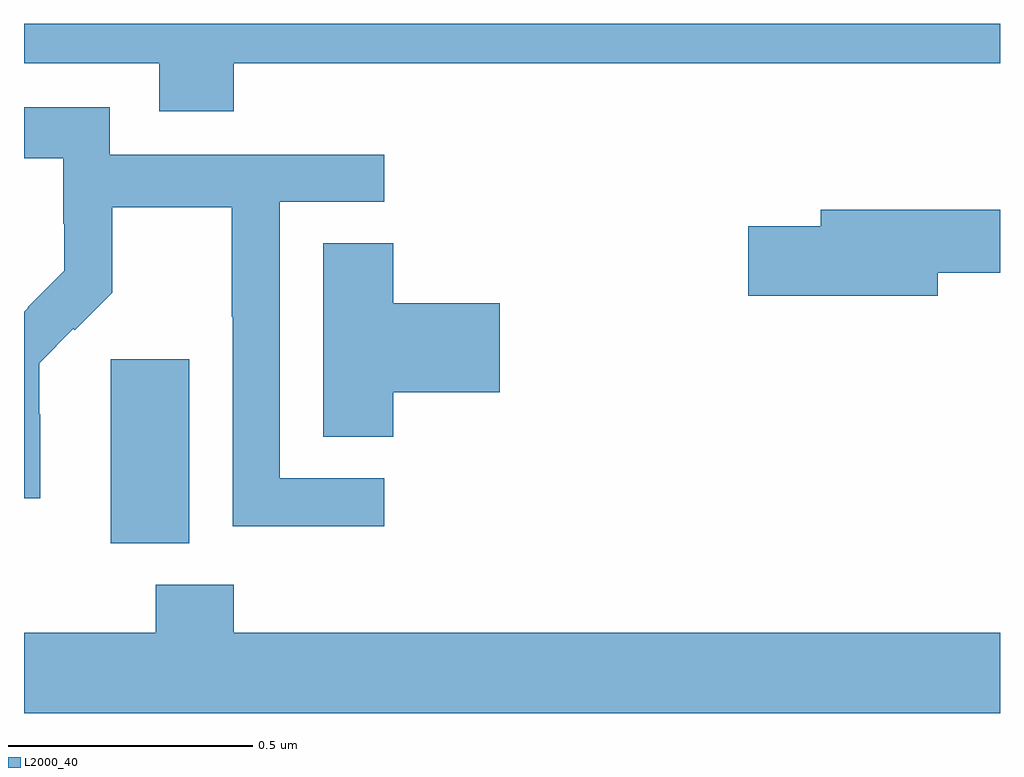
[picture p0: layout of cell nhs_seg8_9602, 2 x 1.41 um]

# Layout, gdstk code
import gdstk
lib = gdstk.Library(unit=1e-6, precision=1e-09)
def R(c, l, rs):  # rectangles x0, y0, x1, y1
    for r in rs: c.add(gdstk.rectangle(r[:2], r[2:], *l))
def P(c, l, *ps):  # polygons
    for p in ps: c.add(gdstk.Polygon(p, *l))
L2000_40 = (2000, 40)

nhs_seg8_9602 = lib.new_cell('nhs_seg8_9602')
R(nhs_seg8_9602, L2000_40, [(238.178,1128.836,238.339,1129.213)])
P(nhs_seg8_9602, L2000_40, [(238.43,1129.82),(240,1129.82),(240,1129.9),(238,1129.9),(238,1129.82),(238.277,1129.82),(238.277,1129.721),(238.43,1129.721)],
  [(238.738,1128.969),(238.524,1128.969),(238.524,1129.536),(238.738,1129.536),(238.738,1129.632),(238.176,1129.632),(238.176,1129.729),(238,1129.729),(238,1129.625),(238.08,1129.625),(238.08,1129.491),(238.082,1129.491),(238.082,1129.394),(238.008,1129.32),(238.009,1129.319),(238,1129.31),(238,1128.928),(238.033,1128.928),(238.033,1129.1),(238.031,1129.1),(238.031,1129.205),(238.101,1129.275),(238.104,1129.272),(238.181,1129.349),(238.181,1129.524),(238.426,1129.524),(238.426,1129.3),(238.428,1129.3),(238.428,1128.871),(238.738,1128.871)],
  [(239.872,1129.39),(240,1129.39),(240,1129.519),(239.633,1129.519),(239.633,1129.485),(239.484,1129.485),(239.484,1129.343),(239.872,1129.343)],
  [(238.757,1129.145),(238.975,1129.145),(238.975,1129.328),(238.757,1129.328),(238.757,1129.451),(238.613,1129.451),(238.613,1129.054),(238.757,1129.054)],
  [(240,1128.652),(238.43,1128.652),(238.43,1128.751),(238.27,1128.751),(238.27,1128.652),(238,1128.652),(238,1128.488),(240,1128.488)])

lib.write_gds('nhs_seg8_9602.gds')
